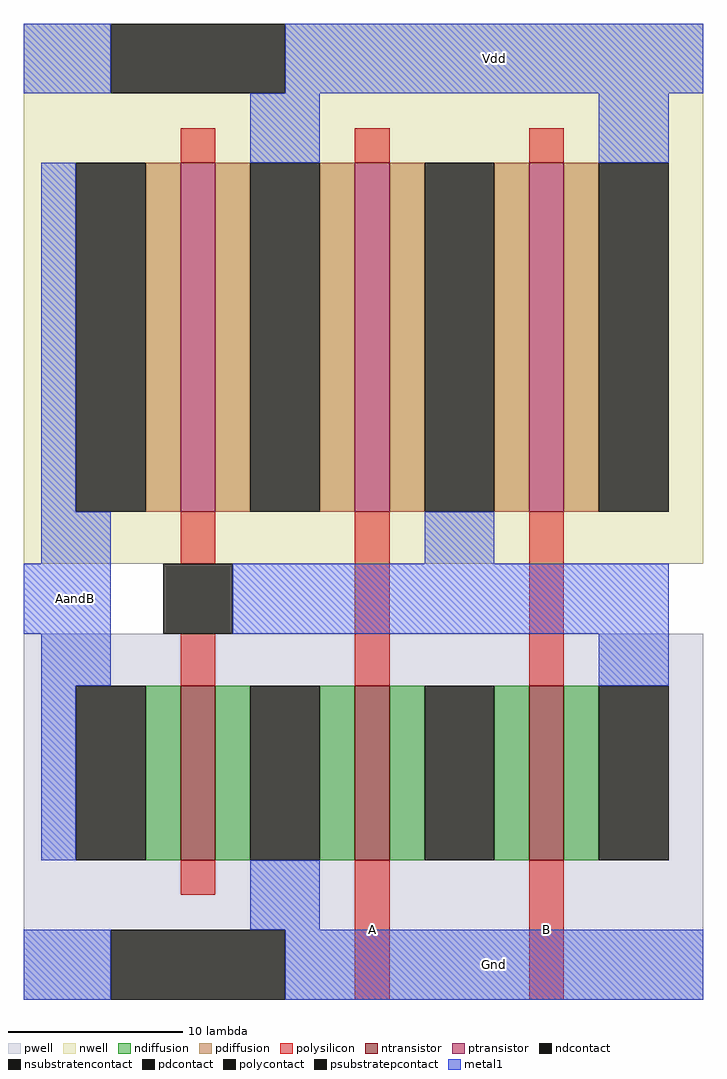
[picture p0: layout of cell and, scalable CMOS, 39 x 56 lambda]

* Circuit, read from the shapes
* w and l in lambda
.subckt and A AandB B Gnd Vdd
M1 Gnd n1 AandB Gnd nfet w=10 l=2
M2 n2 A Gnd Gnd nfet w=10 l=2
M3 n1 B n2 Gnd nfet w=10 l=2
M4 Vdd n1 AandB Vdd pfet w=20 l=2
M5 n1 A Vdd Vdd pfet w=20 l=2
M6 Vdd B n1 Vdd pfet w=20 l=2
.ends

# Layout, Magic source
magic
tech scmos
<< pwell >>
rect -25 -23 14 -2
<< nwell >>
rect -25 2 14 33
<< polysilicon >>
rect -16 25 -14 27
rect -6 25 -4 27
rect 4 25 6 27
rect -16 2 -14 5
rect -16 -5 -14 -2
rect -6 -5 -4 5
rect 4 -5 6 5
rect -16 -17 -14 -15
rect -6 -23 -4 -15
rect 4 -23 6 -15
<< ndiffusion >>
rect -18 -15 -16 -5
rect -14 -15 -12 -5
rect -8 -15 -6 -5
rect -4 -15 -2 -5
rect 2 -15 4 -5
rect 6 -15 8 -5
<< pdiffusion >>
rect -18 5 -16 25
rect -14 5 -12 25
rect -8 5 -6 25
rect -4 5 -2 25
rect 2 5 4 25
rect 6 5 8 25
<< metal1 >>
rect -25 29 -20 33
rect -10 29 14 33
rect -12 25 -8 29
rect 8 25 12 29
rect -24 5 -22 25
rect -24 2 -20 5
rect -2 2 2 5
rect -25 -2 -20 2
rect -13 -2 12 2
rect -24 -5 -20 -2
rect 8 -5 12 -2
rect -24 -15 -22 -5
rect -12 -19 -8 -15
rect -25 -23 -20 -19
rect -10 -23 14 -19
<< ntransistor >>
rect -16 -15 -14 -5
rect -6 -15 -4 -5
rect 4 -15 6 -5
<< ptransistor >>
rect -16 5 -14 25
rect -6 5 -4 25
rect 4 5 6 25
<< polycontact >>
rect -17 -2 -13 2
<< ndcontact >>
rect -22 -15 -18 -5
rect -12 -15 -8 -5
rect -2 -15 2 -5
rect 8 -15 12 -5
<< pdcontact >>
rect -22 5 -18 25
rect -12 5 -8 25
rect -2 5 2 25
rect 8 5 12 25
<< psubstratepcontact >>
rect -20 -23 -10 -19
<< nsubstratencontact >>
rect -20 29 -10 33
<< labels >>
rlabel polysilicon 4 -23 6 -15 1 B
rlabel polysilicon -6 -23 -4 -15 1 A
rlabel metal1 -10 29 14 33 5 Vdd
rlabel metal1 -10 -23 14 -19 1 Gnd
rlabel metal1 -24 -5 -20 5 3 AandB
<< end >>
